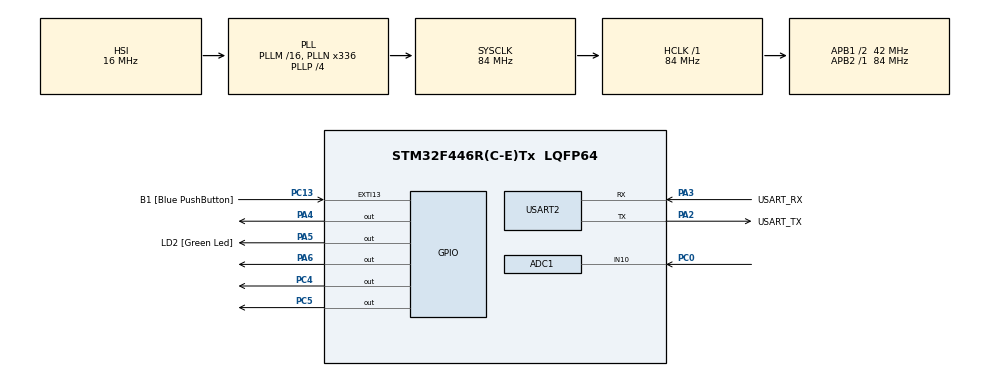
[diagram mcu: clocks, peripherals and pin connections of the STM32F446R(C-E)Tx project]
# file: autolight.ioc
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ADC1.Channel-0\#ChannelRegularConversion=ADC_CHANNEL_10
ADC1.ContinuousConvMode=ENABLE
ADC1.NbrOfConversionFlag=1
ADC1.Rank-0\#ChannelRegularConversion=1
ADC1.SamplingTime-0\#ChannelRegularConversion=ADC_SAMPLETIME_3CYCLES
ADC1.master=1
Mcu.Family=STM32F4
Mcu.Name=STM32F446R(C-E)Tx
Mcu.Package=LQFP64
NVIC.ADC_IRQn=true\:0\:0\:false\:false\:true\:true\:true\:true
NVIC.PriorityGroup=NVIC_PRIORITYGROUP_0
PA13.GPIO_Label=TMS
PA13.Mode=Serial_Wire
PA13.Signal=SYS_JTMS-SWDIO
PA14.GPIO_Label=TCK
PA14.Mode=Serial_Wire
PA14.Signal=SYS_JTCK-SWCLK
PA2.GPIO_Label=USART_TX
PA2.Mode=Asynchronous
PA2.Signal=USART2_TX
PA3.GPIO_Label=USART_RX
PA3.Mode=Asynchronous
PA3.Signal=USART2_RX
PA4.Signal=GPIO_Output
PA5.GPIO_Label=LD2 [Green Led]
PA5.Signal=GPIO_Output
PA6.Signal=GPIO_Output
PB3.GPIO_Label=SWO
PB3.Signal=SYS_JTDO-SWO
PC0.Signal=ADCx_IN10
PC13.GPIO_Label=B1 [Blue PushButton]
PC13.GPIO_ModeDefaultEXTI=GPIO_MODE_IT_FALLING
PC13.Signal=GPXTI13
PC14-OSC32_IN.Mode=LSE-External-Oscillator
PC14-OSC32_IN.Signal=RCC_OSC32_IN
PC15-OSC32_OUT.Mode=LSE-External-Oscillator
PC15-OSC32_OUT.Signal=RCC_OSC32_OUT
PC4.Signal=GPIO_Output
PC5.Signal=GPIO_Output
PH0-OSC_IN.Mode=HSE-External-Oscillator
PH0-OSC_IN.Signal=RCC_OSC_IN
PH1-OSC_OUT.Mode=HSE-External-Oscillator
PH1-OSC_OUT.Signal=RCC_OSC_OUT
ProjectManager.HeapSize=0x200
ProjectManager.StackSize=0x400
ProjectManager.TargetToolchain=STM32CubeIDE
RCC.48MHZClocksFreq_Value=84000000
RCC.AHBFreq_Value=84000000
RCC.APB1CLKDivider=RCC_HCLK_DIV2
RCC.APB1Freq_Value=42000000
RCC.APB1TimFreq_Value=84000000
RCC.APB2Freq_Value=84000000
RCC.APB2TimFreq_Value=84000000
RCC.CortexFreq_Value=84000000
RCC.FLatency-AdvancedSettings=FLASH_LATENCY_2
RCC.HCLKFreq_Value=84000000
RCC.HSE_VALUE=8000000
RCC.HSI_VALUE=16000000
RCC.PLLN=336
RCC.PLLP=RCC_PLLP_DIV4
RCC.SYSCLKFreq_VALUE=84000000
RCC.SYSCLKSource=RCC_SYSCLKSOURCE_PLLCLK
RCC.USBFreq_Value=168000000
RCC.VCOOutputFreq_Value=336000000
SH.ADCx_IN10.0=ADC1_IN10,IN10
USART2.VirtualMode=VM_ASYNC
board=NUCLEO-F446RE

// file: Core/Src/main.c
/* USER CODE BEGIN Header */
/**
  **************************
  * @file           : main.c
  * @brief          : Main program body
  **************************
  * @attention
  *
  * Copyright (c) 2024 STMicroelectronics.
  * All rights reserved.
  *
  * This software is licensed under terms that can be found in the LICENSE file
  * in the root directory of this software component.
  * If no LICENSE file comes with this software, it is provided AS-IS.
  *
  **************************
  */
/* USER CODE END Header */
#include "main.h"

ADC_HandleTypeDef hadc1;

UART_HandleTypeDef huart2;

void SystemClock_Config(void);
static void MX_GPIO_Init(void);
static void MX_USART2_UART_Init(void);
static void MX_ADC1_Init(void);

/* USER CODE BEGIN 0 */
uint16_t  AdcVal;
uint16_t txbuf[20];
char  Adc_Valid;
float  temp;
/* USER CODE END 0 */

int main(void)
{

  /* MCU Configuration--------------------------------------------------------*/

  /* Reset of all peripherals, Initializes the Flash interface and the Systick. */
  HAL_Init();

  /* Configure the system clock */
  SystemClock_Config();

  /* Initialize all configured peripherals */
  MX_GPIO_Init();
  MX_USART2_UART_Init();
  MX_ADC1_Init();
  /* USER CODE BEGIN 2 */
  HAL_ADC_Start_IT(&hadc1);
  /* USER CODE END 2 */

  /* Infinite loop */
  while (1)
  {

    /* USER CODE BEGIN 3 */
	  if(AdcVal>=3200){
		  HAL_GPIO_WritePin(GPIOC,GPIO_PIN_4,0);
		 HAL_GPIO_WritePin(GPIOC,GPIO_PIN_5,1);
	  }
	  else {
			 HAL_GPIO_WritePin(GPIOC,GPIO_PIN_5,0);
			 HAL_GPIO_WritePin(GPIOC,GPIO_PIN_4,1);
	  }
	  HAL_ADC_Start_IT(&hadc1);
	  HAL_Delay(200);
  }
  /* USER CODE END 3 */
}

void SystemClock_Config(void)
{
  RCC_OscInitTypeDef RCC_OscInitStruct = {0};
  RCC_ClkInitTypeDef RCC_ClkInitStruct = {0};

  /** Configure the main internal regulator output voltage
  */
  __HAL_RCC_PWR_CLK_ENABLE();
  __HAL_PWR_VOLTAGESCALING_CONFIG(PWR_REGULATOR_VOLTAGE_SCALE3);

  /** Initializes the RCC Oscillators according to the specified parameters
  * in the RCC_OscInitTypeDef structure.
  */
  RCC_OscInitStruct.OscillatorType = RCC_OSCILLATORTYPE_HSI;
  RCC_OscInitStruct.HSIState = RCC_HSI_ON;
  RCC_OscInitStruct.HSICalibrationValue = RCC_HSICALIBRATION_DEFAULT;
  RCC_OscInitStruct.PLL.PLLState = RCC_PLL_ON;
  RCC_OscInitStruct.PLL.PLLSource = RCC_PLLSOURCE_HSI;
  RCC_OscInitStruct.PLL.PLLM = 16;
  RCC_OscInitStruct.PLL.PLLN = 336;
  RCC_OscInitStruct.PLL.PLLP = RCC_PLLP_DIV4;
  RCC_OscInitStruct.PLL.PLLQ = 2;
  RCC_OscInitStruct.PLL.PLLR = 2;
  if (HAL_RCC_OscConfig(&RCC_OscInitStruct) != HAL_OK)
  {
    Error_Handler();
  }

  /** Initializes the CPU, AHB and APB buses clocks
  */
  RCC_ClkInitStruct.ClockType = RCC_CLOCKTYPE_HCLK|RCC_CLOCKTYPE_SYSCLK
                              |RCC_CLOCKTYPE_PCLK1|RCC_CLOCKTYPE_PCLK2;
  RCC_ClkInitStruct.SYSCLKSource = RCC_SYSCLKSOURCE_PLLCLK;
  RCC_ClkInitStruct.AHBCLKDivider = RCC_SYSCLK_DIV1;
  RCC_ClkInitStruct.APB1CLKDivider = RCC_HCLK_DIV2;
  RCC_ClkInitStruct.APB2CLKDivider = RCC_HCLK_DIV1;

  if (HAL_RCC_ClockConfig(&RCC_ClkInitStruct, FLASH_LATENCY_2) != HAL_OK)
  {
    Error_Handler();
  }
}

static void MX_ADC1_Init(void)
{

  ADC_ChannelConfTypeDef sConfig = {0};

  /** Configure the global features of the ADC (Clock, Resolution, Data Alignment and number of conversion)
  */
  hadc1.Instance = ADC1;
  hadc1.Init.ClockPrescaler = ADC_CLOCK_SYNC_PCLK_DIV4;
  hadc1.Init.Resolution = ADC_RESOLUTION_12B;
  hadc1.Init.ScanConvMode = DISABLE;
  hadc1.Init.ContinuousConvMode = ENABLE;
  hadc1.Init.DiscontinuousConvMode = DISABLE;
  hadc1.Init.ExternalTrigConvEdge = ADC_EXTERNALTRIGCONVEDGE_NONE;
  hadc1.Init.ExternalTrigConv = ADC_SOFTWARE_START;
  hadc1.Init.DataAlign = ADC_DATAALIGN_RIGHT;
  hadc1.Init.NbrOfConversion = 1;
  hadc1.Init.DMAContinuousRequests = DISABLE;
  hadc1.Init.EOCSelection = ADC_EOC_SINGLE_CONV;
  if (HAL_ADC_Init(&hadc1) != HAL_OK)
  {
    Error_Handler();
  }

  /** Configure for the selected ADC regular channel its corresponding rank in the sequencer and its sample time.
  */
  sConfig.Channel = ADC_CHANNEL_10;
  sConfig.Rank = 1;
  sConfig.SamplingTime = ADC_SAMPLETIME_3CYCLES;
  if (HAL_ADC_ConfigChannel(&hadc1, &sConfig) != HAL_OK)
  {
    Error_Handler();
  }

}

static void MX_USART2_UART_Init(void)
{

  huart2.Instance = USART2;
  huart2.Init.BaudRate = 115200;
  huart2.Init.WordLength = UART_WORDLENGTH_8B;
  huart2.Init.StopBits = UART_STOPBITS_1;
  huart2.Init.Parity = UART_PARITY_NONE;
  huart2.Init.Mode = UART_MODE_TX_RX;
  huart2.Init.HwFlowCtl = UART_HWCONTROL_NONE;
  huart2.Init.OverSampling = UART_OVERSAMPLING_16;
  if (HAL_UART_Init(&huart2) != HAL_OK)
  {
    Error_Handler();
  }

}

static void MX_GPIO_Init(void)
{
  GPIO_InitTypeDef GPIO_InitStruct = {0};

  /* GPIO Ports Clock Enable */
  __HAL_RCC_GPIOC_CLK_ENABLE();
  __HAL_RCC_GPIOH_CLK_ENABLE();
  __HAL_RCC_GPIOA_CLK_ENABLE();
  __HAL_RCC_GPIOB_CLK_ENABLE();

  /*Configure GPIO pin Output Level */
  HAL_GPIO_WritePin(GPIOA, GPIO_PIN_4|LD2_Pin|GPIO_PIN_6, GPIO_PIN_RESET);

  /*Configure GPIO pin Output Level */
  HAL_GPIO_WritePin(GPIOC, GPIO_PIN_4|GPIO_PIN_5, GPIO_PIN_RESET);

  /*Configure GPIO pin : B1_Pin */
  GPIO_InitStruct.Pin = B1_Pin;
  GPIO_InitStruct.Mode = GPIO_MODE_IT_FALLING;
  GPIO_InitStruct.Pull = GPIO_NOPULL;
  HAL_GPIO_Init(B1_GPIO_Port, &GPIO_InitStruct);

  /*Configure GPIO pins : PA4 LD2_Pin PA6 */
  GPIO_InitStruct.Pin = GPIO_PIN_4|LD2_Pin|GPIO_PIN_6;
  GPIO_InitStruct.Mode = GPIO_MODE_OUTPUT_PP;
  GPIO_InitStruct.Pull = GPIO_NOPULL;
  GPIO_InitStruct.Speed = GPIO_SPEED_FREQ_LOW;
  HAL_GPIO_Init(GPIOA, &GPIO_InitStruct);

  /*Configure GPIO pins : PC4 PC5 */
  GPIO_InitStruct.Pin = GPIO_PIN_4|GPIO_PIN_5;
  GPIO_InitStruct.Mode = GPIO_MODE_OUTPUT_PP;
  GPIO_InitStruct.Pull = GPIO_NOPULL;
  GPIO_InitStruct.Speed = GPIO_SPEED_FREQ_LOW;
  HAL_GPIO_Init(GPIOC, &GPIO_InitStruct);

}

/* USER CODE BEGIN 4 */
void HAL_ADC_ConvCpltCallback(ADC_HandleTypeDef *h)
{
	if(h == &hadc1)
	{
		AdcVal = HAL_ADC_GetValue(&hadc1);
		Adc_Valid =1;
	}
}

/* USER CODE END 4 */

void Error_Handler(void)
{
  __disable_irq();
  while (1)
  {
  }
}
